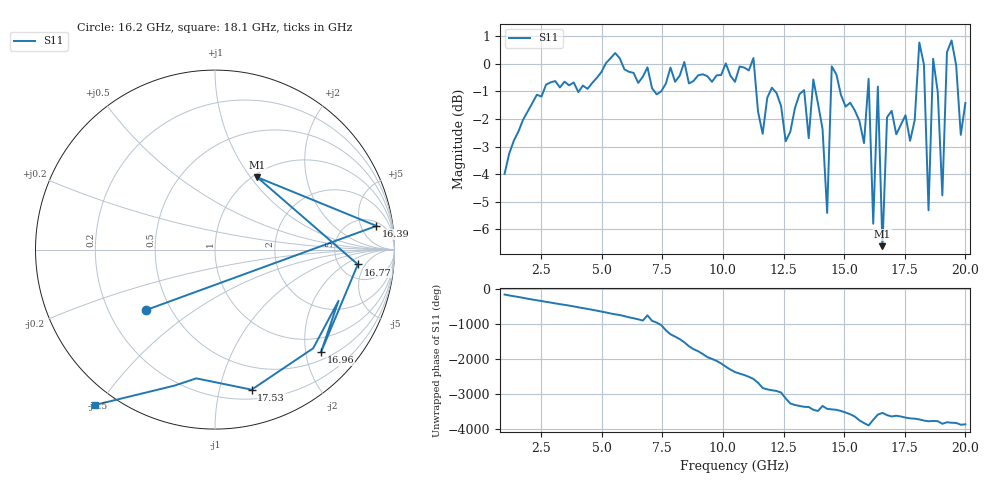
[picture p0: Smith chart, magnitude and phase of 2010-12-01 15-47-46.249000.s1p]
# GHz S RI R 50
!freq	ReS11	ImS11
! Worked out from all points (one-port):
!   101 points, 1 GHz to 20 GHz, reference 50 ohm
!   lowest |S11| = -6.6 dB at 16.58 GHz (marker M1), VSWR 2.75, Z = 52.3 + j53.9 ohm
!   |S11| at or under -10 dB: nowhere
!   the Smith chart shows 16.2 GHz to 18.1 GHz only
!   S11 on the Smith chart (normalised r, x): 16.2 GHz: 0.36, -0.33; 16.39 GHz: 6, +10; 16.77 GHz: 7.42, -3.40; 16.96 GHz: 0.66, -2.31; 17.53 GHz: 0.28, -1.26; 18.1 GHz: -0.06, -0.49
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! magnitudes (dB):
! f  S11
! 1 GHz  -4.0
! 3.47 GHz  -0.6
! 5.75 GHz  0.2
! 8.22 GHz  -0.4
! 10.5 GHz  -0.7
! 12.97 GHz  -1.6
! 13.54 GHz  -2.7
! 13.73 GHz  -0.6
! 14.3 GHz  -5.4
! 14.49 GHz  -0.1
! 15.25 GHz  -1.4
! 15.82 GHz  -2.9
! 16.01 GHz  -0.5
! 16.2 GHz  -5.8
! 16.39 GHz  -0.8
! 16.58 GHz  -6.6
! 16.77 GHz  -1.9
! 16.96 GHz  -1.7
! 17.53 GHz  -1.9
! 17.72 GHz  -2.8
! 18.1 GHz  0.8
! 18.29 GHz  0.0
! 18.48 GHz  -5.3
! 18.67 GHz  0.2
! 19.05 GHz  -4.8
! 19.24 GHz  0.4
! 19.81 GHz  -2.6
! 20 GHz  -1.4
